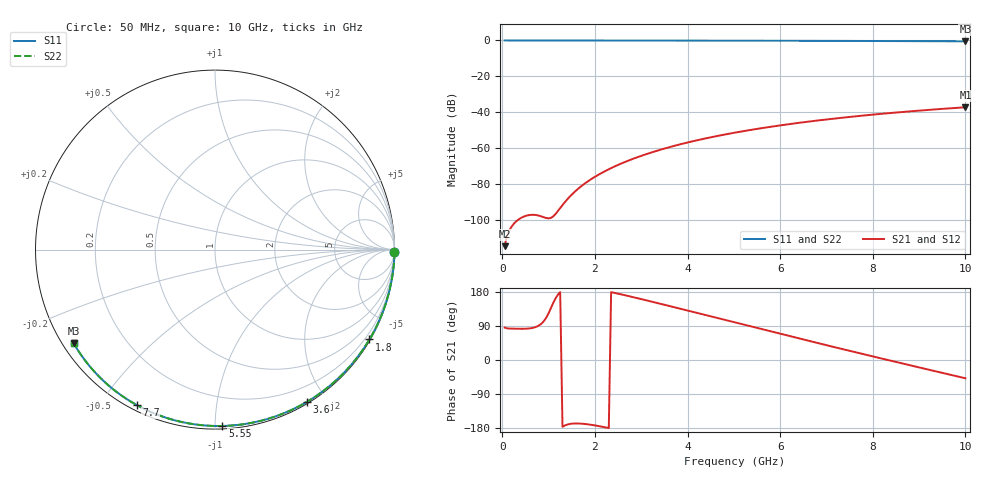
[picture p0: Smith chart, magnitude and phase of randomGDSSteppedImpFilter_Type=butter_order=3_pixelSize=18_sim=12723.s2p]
! freq	dB(S11)	phase(S11)	dB(S12)	phase(S12)
!  dB(S21)	phase(S21)	dB(S22)	phase(S22)
!S-par simulation data
#  GHz  S  DB  R 50
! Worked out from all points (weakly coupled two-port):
!   200 points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, 50 MHz to 10 GHz, reference 50 ohm
!   highest |S21| = -37.28 dB at 10 GHz (marker M1); lowest = -114.8 dB at 50 MHz (marker M2)
!   lowest |S11| = -0.5 dB at 10 GHz (marker M3), VSWR 35.12, Z = 1.55 - j15 ohm
!   |S11| at or under -10 dB: nowhere
!   |S22| runs from -0.5 to 0.0 dB; largest |S21 - S12| = 0
!   S11 on the Smith chart (normalised r, x): 50 MHz: open; 1.8 GHz: 0.03, -3.71; 3.6 GHz: 0.02, -1.77; 5.55 GHz: 0.02, -1.04; 7.7 GHz: 0.02, -0.62; 10 GHz: 0.03, -0.30
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0.05  -0.00 -0.9  -114.77 85.6  -114.77 85.6  -0.00 -0.9
0.45  -0.01 -7.7  -98.41 82.3  -98.41 82.3  -0.01 -7.7
0.9  -0.02 -15.2  -98.65 103.0  -98.65 103.0  -0.02 -15.2
1.3  -0.03 -21.9  -91.82 -176.2  -91.82 -176.2  -0.03 -21.9
1.75  -0.04 -29.4  -80.42 -168.4  -80.42 -168.4  -0.04 -29.4
1.8  -0.04 -30.2  -79.47 -169.1  -79.47 -169.1  -0.04 -30.2
1.95  -0.04 -32.6  -76.87 -171.6  -76.87 -171.6  -0.04 -32.6
2.1  -0.04 -35.1  -74.57 -174.8  -74.57 -174.8  -0.04 -35.1
2.3  -0.05 -38.3  -71.85 -179.6  -71.85 -179.6  -0.05 -38.3
2.5  -0.05 -41.5  -69.43 175.1  -69.43 175.1  -0.05 -41.5
2.9  -0.06 -47.9  -65.30 163.7  -65.30 163.7  -0.06 -47.9
3.4  -0.07 -55.8  -61.07 148.8  -61.07 148.8  -0.07 -55.7
3.6  -0.08 -58.8  -59.59 142.7  -59.59 142.7  -0.08 -58.8
4.3  -0.10 -69.4  -55.15 121.2  -55.15 121.2  -0.10 -69.4
5.05  -0.12 -80.5  -51.30 98.2  -51.30 98.2  -0.12 -80.5
5.55  -0.14 -87.6  -49.13 82.9  -49.13 82.9  -0.14 -87.6
6.1  -0.17 -95.3  -47.02 66.1  -47.02 66.1  -0.17 -95.3
6.7  -0.20 -103.5  -45.00 48.0  -45.00 48.0  -0.20 -103.5
7.7  -0.27 -116.8  -42.14 18.3  -42.14 18.3  -0.27 -116.8
8.35  -0.32 -125.3  -40.55 -0.8  -40.55 -0.8  -0.32 -125.3
9.2  -0.40 -136.2  -38.74 -25.3  -38.74 -25.3  -0.40 -136.2
10  -0.49 -146.5  -37.28 -48.2  -37.28 -48.2  -0.49 -146.5
